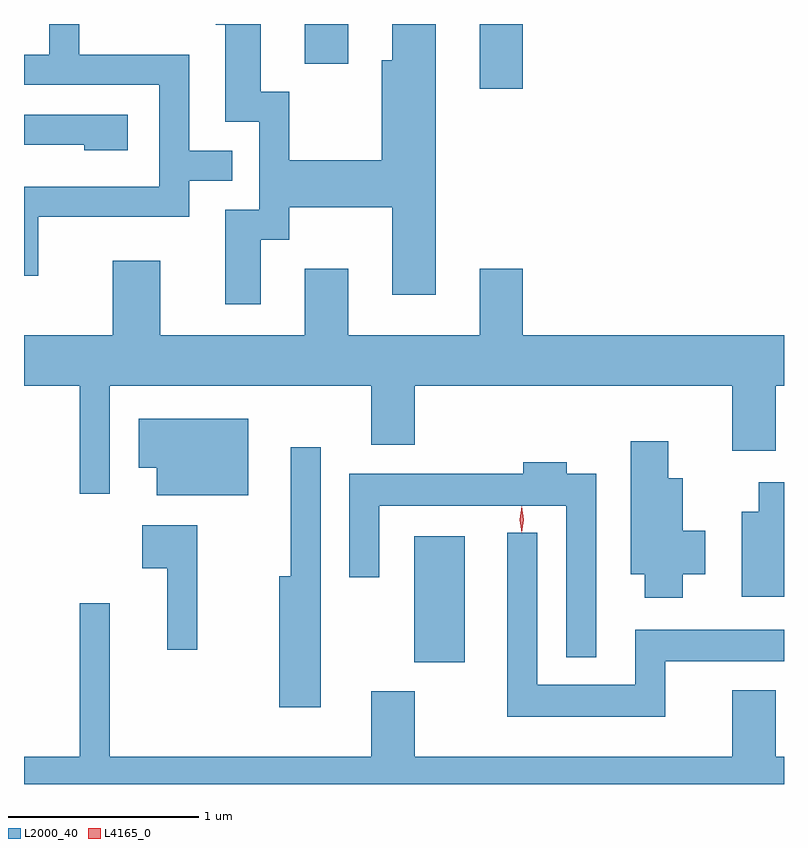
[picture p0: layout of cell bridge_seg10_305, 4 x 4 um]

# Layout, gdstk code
import gdstk
lib = gdstk.Library(unit=1e-6, precision=1e-09)
def R(c, l, rs):  # rectangles x0, y0, x1, y1
    for r in rs: c.add(gdstk.rectangle(r[:2], r[2:], *l))
def P(c, l, *ps):  # polygons
    for p in ps: c.add(gdstk.Polygon(p, *l))
L2000_40 = (2000, 40)
L4165_0 = (4165, 0)

bridge_seg10_305 = lib.new_cell('bridge_seg10_305')
R(bridge_seg10_305, L2000_40, [(1397.046,2159.081,1397.314,2159.744), (1397.391,2162.101,1397.619,2162.441), (1396.471,2162.231,1396.699,2162.441)])
P(bridge_seg10_305, L2000_40, [(1395.069,2161.426),(1395.864,2161.426),(1395.864,2161.616),(1396.088,2161.616),(1396.088,2161.774),(1395.864,2161.774),(1395.864,2162.279),(1395.284,2162.279),(1395.284,2162.441),(1395.126,2162.441),(1395.126,2162.279),(1394.993,2162.279),(1394.993,2162.121),(1395.706,2162.121),(1395.706,2161.584),(1394.993,2161.584),(1394.993,2161.116),(1395.069,2161.116)],
  [(1396.239,2161.306),(1396.389,2161.306),(1396.389,2161.476),(1396.931,2161.476),(1396.931,2161.016),(1397.159,2161.016),(1397.159,2162.441),(1396.931,2162.441),(1396.931,2162.249),(1396.876,2162.249),(1396.876,2161.724),(1396.389,2161.724),(1396.389,2162.084),(1396.239,2162.084),(1396.239,2162.441),(1396.003,2162.441),(1396.003,2162.436),(1396.051,2162.436),(1396.051,2161.926),(1396.231,2161.926),(1396.231,2161.464),(1396.051,2161.464),(1396.051,2160.966),(1396.239,2160.966)],
  [(1395.539,2161.964),(1394.993,2161.964),(1394.993,2161.806),(1395.311,2161.806),(1395.311,2161.776),(1395.539,2161.776)],
  [(1395.444,2160.536),(1396.821,2160.536),(1396.821,2160.226),(1397.049,2160.226),(1397.049,2160.536),(1398.721,2160.536),(1398.721,2160.196),(1398.949,2160.196),(1398.949,2160.536),(1398.993,2160.536),(1398.993,2160.804),(1397.619,2160.804),(1397.619,2161.154),(1397.391,2161.154),(1397.391,2160.804),(1396.699,2160.804),(1396.699,2161.154),(1396.471,2161.154),(1396.471,2160.804),(1395.709,2160.804),(1395.709,2161.194),(1395.461,2161.194),(1395.461,2160.804),(1394.993,2160.804),(1394.993,2160.536),(1395.286,2160.536),(1395.286,2159.968),(1395.444,2159.968)],
  [(1396.174,2160.364),(1395.596,2160.364),(1395.596,2160.106),(1395.691,2160.106),(1395.691,2159.961),(1396.174,2159.961)],
  [(1398.459,2159.546),(1398.579,2159.546),(1398.579,2159.774),(1398.459,2159.774),(1398.459,2160.049),(1398.384,2160.049),(1398.384,2160.244),(1398.186,2160.244),(1398.186,2159.546),(1398.261,2159.546),(1398.261,2159.421),(1398.459,2159.421)],
  [(1396.554,2160.213),(1396.396,2160.213),(1396.396,2159.534),(1396.336,2159.534),(1396.336,2158.846),(1396.554,2158.846)],
  [(1398.004,2160.074),(1397.849,2160.074),(1397.849,2160.134),(1397.621,2160.134),(1397.621,2160.074),(1396.706,2160.074),(1396.706,2159.528),(1396.864,2159.528),(1396.864,2159.906),(1397.846,2159.906),(1397.846,2159.108),(1398.004,2159.108)],
  [(1398.993,2160.029),(1398.861,2160.029),(1398.861,2159.874),(1398.771,2159.874),(1398.771,2159.426),(1398.993,2159.426)],
  [(1395.904,2159.804),(1395.616,2159.804),(1395.616,2159.576),(1395.746,2159.576),(1395.746,2159.148),(1395.904,2159.148)],
  [(1398.369,2159.086),(1398.993,2159.086),(1398.993,2159.254),(1398.211,2159.254),(1398.211,2158.964),(1397.694,2158.964),(1397.694,2159.763),(1397.536,2159.763),(1397.536,2158.796),(1398.369,2158.796)],
  [(1398.993,2158.584),(1398.949,2158.584),(1398.949,2158.934),(1398.721,2158.934),(1398.721,2158.584),(1397.049,2158.584),(1397.049,2158.929),(1396.821,2158.929),(1396.821,2158.584),(1395.444,2158.584),(1395.444,2159.393),(1395.286,2159.393),(1395.286,2158.584),(1394.993,2158.584),(1394.993,2158.441),(1398.993,2158.441)])
P(bridge_seg10_305, L4165_0, [(1397.613,2159.764),(1397.613,2159.764),(1397.603,2159.833),(1397.613,2159.902),(1397.613,2159.903),(1397.614,2159.902),(1397.623,2159.833),(1397.614,2159.764)])

lib.write_gds('bridge_seg10_305.gds')
